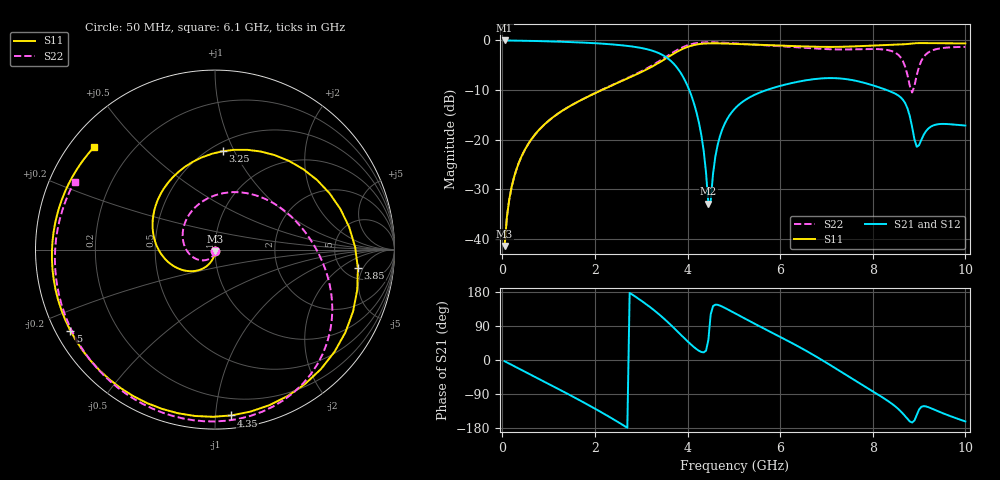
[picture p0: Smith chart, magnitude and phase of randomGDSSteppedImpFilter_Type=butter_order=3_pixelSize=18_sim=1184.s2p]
! freq	dB(S11)	phase(S11)	dB(S12)	phase(S12)
!  dB(S21)	phase(S21)	dB(S22)	phase(S22)
!S-par simulation data
#  GHz  S  DB  R 50
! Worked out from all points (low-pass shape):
!   200 points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, 50 MHz to 10 GHz, reference 50 ohm
!   highest |S21| = -0.01 dB at 50 MHz (marker M1); lowest = -32.9 dB at 4.45 GHz (marker M2)
!   |S21| within 3 dB of the highest: start of sweep to 3.473 GHz
!   lowest |S11| = -41.4 dB at 50 MHz (marker M3), VSWR 1.02, Z = 50 - j0.849 ohm
!   |S11| at or under -10 dB: start of sweep to 2.148 GHz
!   |S22| runs from -41.5 to -0.4 dB; largest |S21 - S12| = 0
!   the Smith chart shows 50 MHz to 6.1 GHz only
!   S11 on the Smith chart (normalised r, x): 50 MHz: 1.00, -0.02; 3.25 GHz: 0.57, +0.90; 3.85 GHz: 6.79, -3.97; 4.35 GHz: 0.08, -1.10; 5 GHz: 0.04, -0.26; 6.1 GHz: 0.07, +0.36
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0.05  -41.42 -91.1  -0.01 -3.2  -0.01 -3.2  -41.46 -93.3
0.2  -29.60 -97.9  -0.03 -12.6  -0.03 -12.6  -29.64 -106.7
0.5  -21.81 -110.9  -0.07 -31.4  -0.07 -31.4  -21.85 -133.0
1.75  -11.79 -161.3  -0.44 -111.5  -0.44 -111.5  -11.77 116.5
2.55  -8.30 154.4  -0.95 -167.5  -0.95 -167.5  -8.22 49.0
3.25  -5.20 85.6  -2.10 134.0  -2.10 134.0  -4.96 0.1
3.4  -4.40 65.1  -2.65 118.9  -2.65 118.9  -4.11 -9.9
3.85  -1.91 -7.4  -6.50 67.2  -6.50 67.2  -1.57 -43.9
4.35  -0.64 -84.3  -22.33 20.1  -22.33 20.1  -0.40 -85.9
4.45  -0.60 -96.9  -32.90 53.2  -32.90 53.2  -0.37 -93.6
4.7  -0.60 -124.1  -19.30 143.5  -19.30 143.5  -0.43 -111.6
5  -0.69 -150.8  -13.96 124.8  -13.96 124.8  -0.58 -131.4
5.05  -0.71 -154.7  -13.47 121.4  -13.47 121.4  -0.61 -134.6
6.1  -1.08 139.8  -8.92 54.8  -8.92 54.8  -1.22 154.2
6.7  -1.26 110.6  -7.84 14.6  -7.84 14.6  -1.60 101.7
7.6  -1.20 72.1  -8.07 -52.7  -8.07 -52.7  -1.78 1.6
8.35  -0.90 41.0  -10.17 -110.0  -10.17 -110.0  -2.00 -86.3
8.7  -0.76 27.4  -12.64 -148.5  -12.64 -148.5  -5.29 -161.7
8.85  -0.62 21.5  -17.47 -164.9  -17.47 -164.9  -10.49 92.5
9  -0.54 14.9  -21.10 -130.5  -21.10 -130.5  -5.25 -13.0
9.3  -0.55 2.8  -17.15 -129.5  -17.15 -129.5  -1.95 -76.8
10  -0.60 -22.5  -17.16 -162.2  -17.16 -162.2  -1.31 -132.7
